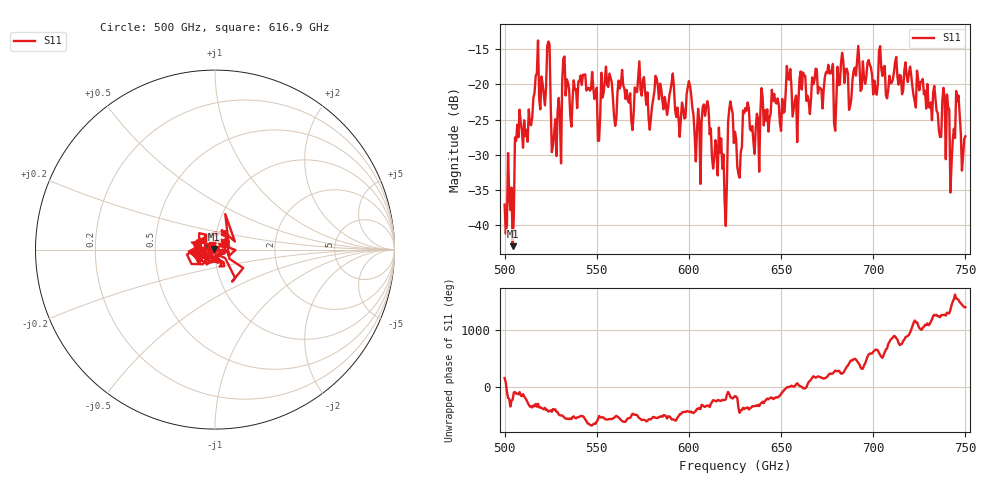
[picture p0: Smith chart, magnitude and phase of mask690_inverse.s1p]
!Created with skrf (http://scikit-rf.org).
# GHz S MA R 50.0
!freq magS11 angS11
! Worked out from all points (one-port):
!   401 points, 500 GHz to 750 GHz, reference 50 ohm
!   lowest |S11| = -43.0 dB at 504.4 GHz (marker M1), VSWR 1.01, Z = 49.4 + j0.401 ohm
!   |S11| at or under -10 dB: start of sweep to end of sweep
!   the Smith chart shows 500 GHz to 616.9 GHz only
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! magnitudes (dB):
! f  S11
! 500 GHz  -37.1
! 504.4 GHz  -43.0
! 506.9 GHz  -25.7
! 513.8 GHz  -25.6
! 516.9 GHz  -18.8
! 523.8 GHz  -13.9
! 526.9 GHz  -27.0
! 531.2 GHz  -19.5
! 562.5 GHz  -20.6
! 579.4 GHz  -24.8
! 590.6 GHz  -19.7
! 593.8 GHz  -23.3
! 600 GHz  -19.5
! 605 GHz  -23.5
! 609.4 GHz  -23.2
! 619.4 GHz  -36.6
! 622.5 GHz  -22.4
! 625 GHz  -26.7
! 627.5 GHz  -33.3
! 630.6 GHz  -23.3
! 656.2 GHz  -24.6
! 676.9 GHz  -18.4
! 680 GHz  -22.2
! 683.8 GHz  -16.6
! 687.5 GHz  -23.1
! 691.2 GHz  -16.7
! 718.8 GHz  -19.6
! 750 GHz  -27.4
